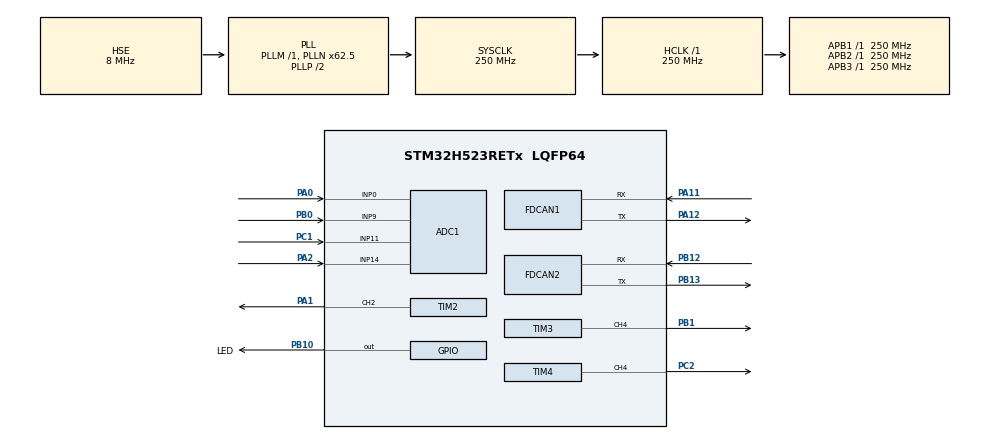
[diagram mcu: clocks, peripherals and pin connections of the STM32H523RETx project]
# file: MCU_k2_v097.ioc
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ADC1.Channel-1\#ChannelRegularConversion=ADC_CHANNEL_0
ADC1.Channel-2\#ChannelRegularConversion=ADC_CHANNEL_9
ADC1.Channel-3\#ChannelRegularConversion=ADC_CHANNEL_11
ADC1.Channel-4\#ChannelRegularConversion=ADC_CHANNEL_14
ADC1.ContinuousConvMode=ENABLE
ADC1.DMAContinuousRequests=ENABLE
ADC1.EOCSelection=ADC_EOC_SEQ_CONV
ADC1.MonitoredBy-1\#ChannelRegularConversion=__NULL
ADC1.MonitoredBy-2\#ChannelRegularConversion=__NULL
ADC1.MonitoredBy-3\#ChannelRegularConversion=__NULL
ADC1.MonitoredBy-4\#ChannelRegularConversion=__NULL
ADC1.NbrOfConversion=4
ADC1.NbrOfConversionFlag=1
ADC1.OffsetNumber-1\#ChannelRegularConversion=ADC_OFFSET_NONE
ADC1.OffsetNumber-2\#ChannelRegularConversion=ADC_OFFSET_NONE
ADC1.OffsetNumber-3\#ChannelRegularConversion=ADC_OFFSET_NONE
ADC1.OffsetNumber-4\#ChannelRegularConversion=ADC_OFFSET_NONE
ADC1.Rank-1\#ChannelRegularConversion=1
ADC1.Rank-2\#ChannelRegularConversion=2
ADC1.Rank-3\#ChannelRegularConversion=3
ADC1.Rank-4\#ChannelRegularConversion=4
ADC1.SamplingTime-1\#ChannelRegularConversion=ADC_SAMPLETIME_640CYCLES_5
ADC1.SamplingTime-2\#ChannelRegularConversion=ADC_SAMPLETIME_640CYCLES_5
ADC1.SamplingTime-3\#ChannelRegularConversion=ADC_SAMPLETIME_640CYCLES_5
ADC1.SamplingTime-4\#ChannelRegularConversion=ADC_SAMPLETIME_640CYCLES_5
ADC1.master=1
BOOTPATH.BootPathName=LEGACY
BOOTPATH.UserSelectedBootPath=LEGACY
CORTEX_M33_NS.userName=CORTEX_M33
DTS.Divider=10
DTS.RefClock=DTS_REFCLKSEL_PCLK
DTS.SamplingTime=DTS_SMP_TIME_15_CYCLE
FDCAN1.AutoRetransmission=ENABLE
FDCAN1.CalculateBaudRateNominal=250000
FDCAN1.CalculateTimeBitNominal=4000
FDCAN1.CalculateTimeQuantumNominal=250.0
FDCAN1.DataTimeSeg1=21
FDCAN1.ExtFiltersNbr=1
FDCAN1.NominalPrescaler=2
FDCAN1.NominalSyncJumpWidth=3
FDCAN1.NominalTimeSeg1=12
FDCAN1.NominalTimeSeg2=3
FDCAN1.StdFiltersNbr=1
FDCAN2.AutoRetransmission=ENABLE
FDCAN2.CalculateBaudRateNominal=250000
FDCAN2.CalculateTimeBitNominal=4000
FDCAN2.CalculateTimeQuantumNominal=250.0
FDCAN2.DataTimeSeg1=21
FDCAN2.ExtFiltersNbr=1
FDCAN2.NominalPrescaler=2
FDCAN2.NominalSyncJumpWidth=3
FDCAN2.NominalTimeSeg1=12
FDCAN2.NominalTimeSeg2=3
FDCAN2.StdFiltersNbr=1
GPDMA1.CIRCULARMODE_GPDMACH0=ENABLE
GPDMA1.DESTDATAWIDTH_GPDMACH0=DMA_DEST_DATAWIDTH_HALFWORD
GPDMA1.DESTINC_GPDMACH0=DMA_DINC_INCREMENTED
GPDMA1.IPHANDLE_GPDMACH0-SIMPLEREQUEST_GPDMACH0=__NULL
GPDMA1.REQUEST_GPDMACH0=GPDMA1_REQUEST_ADC1
GPDMA1.SRCDATAWIDTH_GPDMACH0=DMA_SRC_DATAWIDTH_HALFWORD
Mcu.Family=STM32H5
Mcu.Name=STM32H523RETx
Mcu.Package=LQFP64
NVIC.ADC1_IRQn=true\:10\:0\:true\:false\:true\:true\:true\:true
NVIC.DTS_IRQn=true\:12\:0\:true\:false\:true\:true\:true\:true
NVIC.FDCAN1_IT0_IRQn=true\:1\:0\:true\:false\:true\:true\:true\:true
NVIC.FDCAN2_IT0_IRQn=true\:2\:0\:true\:false\:true\:true\:true\:true
NVIC.GPDMA1_Channel0_IRQn=true\:9\:0\:true\:false\:true\:false\:true\:true
NVIC.PriorityGroup=NVIC_PRIORITYGROUP_4
PA0.Signal=ADCx_INP0
PA1.Signal=S_TIM2_CH2
PA11.GPIO_Speed=GPIO_SPEED_FREQ_VERY_HIGH
PA11.Mode=FDCAN_Activate
PA11.Signal=FDCAN1_RX
PA12.GPIO_Speed=GPIO_SPEED_FREQ_VERY_HIGH
PA12.Mode=FDCAN_Activate
PA12.Signal=FDCAN1_TX
PA2.Signal=ADCx_INP14
PB0.Signal=ADCx_INP9
PB1.Signal=S_TIM3_CH4
PB10.GPIO_Label=LED
PB10.Signal=GPIO_Output
PB12.GPIO_Speed=GPIO_SPEED_FREQ_VERY_HIGH
PB12.Mode=FDCAN_Activate
PB12.Signal=FDCAN2_RX
PB13.GPIO_Speed=GPIO_SPEED_FREQ_VERY_HIGH
PB13.Mode=FDCAN_Activate
PB13.Signal=FDCAN2_TX
PC1.Signal=ADCx_INP11
PC2.Signal=S_TIM4_CH4
PH0-OSC_IN(PH0).Mode=HSE-External-Oscillator
PH0-OSC_IN(PH0).Signal=RCC_OSC_IN
PH1-OSC_OUT(PH1).Mode=HSE-External-Oscillator
PH1-OSC_OUT(PH1).Signal=RCC_OSC_OUT
ProjectManager.HeapSize=0x200
ProjectManager.StackSize=0x400
ProjectManager.TargetToolchain=STM32CubeIDE
RCC.ADCFreq_Value=250000000
RCC.AHBFreq_Value=250000000
RCC.APB1Freq_Value=250000000
RCC.APB1TimFreq_Value=250000000
RCC.APB2Freq_Value=250000000
RCC.APB2TimFreq_Value=250000000
RCC.APB3Freq_Value=250000000
RCC.CSI_VALUE=4000000
RCC.CortexFreq_Value=250000000
RCC.EPOD_VALUE=8000000
RCC.FDCANClockSelection=RCC_FDCANCLKSOURCE_HSE
RCC.HCLKFreq_Value=250000000
RCC.HSE_VALUE=8000000
RCC.HSI48_VALUE=48000000
RCC.HSI_VALUE=64000000
RCC.LSE_VALUE=32768
RCC.LSIRC_VALUE=32000
RCC.PLL1Q=125
RCC.PLL2FRACN=0
RCC.PLL2Source=RCC_PLL2_SOURCE_HSE
RCC.PLL3FRACN=0
RCC.PLL3Source=RCC_PLL3_SOURCE_HSE
RCC.PLLFRACN=4096
RCC.PLLN=62
RCC.PLLSourceVirtual=RCC_PLL1_SOURCE_HSE
RCC.SYSCLKFreq_VALUE=250000000
RCC.SYSCLKSource=RCC_SYSCLKSOURCE_PLLCLK
RCC.USBFreq_Value=48000000
RCC.VCOOutputFreq_Value=500000000
SH.ADCx_INP0.0=ADC1_INP0,IN0-Single-Ended
SH.ADCx_INP11.0=ADC1_INP11,IN11-Single-Ended
SH.ADCx_INP14.0=ADC1_INP14,IN14-Single-Ended
SH.ADCx_INP9.0=ADC1_INP9,IN9-Single-Ended
SH.S_TIM2_CH2.0=TIM2_CH2,PWM Generation2 CH2
SH.S_TIM3_CH4.0=TIM3_CH4,PWM Generation4 CH4
SH.S_TIM4_CH4.0=TIM4_CH4,PWM Generation4 CH4
TIM2.Channel-PWM\ Generation2\ CH2=TIM_CHANNEL_2
TIM2.PeriodNoDither=99
TIM2.Prescaler=31
TIM3.Channel-PWM\ Generation4\ CH4=TIM_CHANNEL_4
TIM3.PeriodNoDither=99
TIM3.Prescaler=31
TIM4.Channel-PWM\ Generation4\ CH4=TIM_CHANNEL_4
TIM4.PeriodNoDither=99
TIM4.Prescaler=31
VP_BOOTPATH_VS_BOOTPATH.Mode=BP_Activate
VP_CORTEX_M33_NS_VS_Hclk.Mode=Hclk_Mode
VP_DTS_VS-DTS.Mode=DTS
VP_GPDMA1_VS_GPDMACH0.Mode=SIMPLEREQUEST_GPDMACH0
VP_MEMORYMAP_VS_MEMORYMAP.Mode=CurAppReg
VP_PWR_VS_LPOM.Mode=PowerOptimisation
VP_PWR_VS_SECSignals.Mode=Security/Privilege
VP_TIM2_VS_ClockSourceINT.Mode=Internal
VP_TIM3_VS_ClockSourceINT.Mode=Internal
VP_TIM4_VS_ClockSourceINT.Mode=Internal
board=custom

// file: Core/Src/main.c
/* USER CODE BEGIN Header */
/**
  ******************************************************************************
  * @file           : main.c
  * @brief          : Main program body
  ******************************************************************************
  * @attention
  *
  * Copyright (c) 2026 STMicroelectronics.
  * All rights reserved.
  *
  * This software is licensed under terms that can be found in the LICENSE file
  * in the root directory of this software component.
  * If no LICENSE file comes with this software, it is provided AS-IS.
  *
  ******************************************************************************
  */
/* USER CODE END Header */
#include "main.h"

/* USER CODE BEGIN Includes */
#include "backend.h"
#include "app.h"

/* USER CODE END Includes */

ADC_HandleTypeDef hadc1;
DMA_NodeTypeDef Node_GPDMA1_Channel0;
DMA_QListTypeDef List_GPDMA1_Channel0;
DMA_HandleTypeDef handle_GPDMA1_Channel0;

DTS_HandleTypeDef hdts;

FDCAN_HandleTypeDef hfdcan1;
FDCAN_HandleTypeDef hfdcan2;

TIM_HandleTypeDef htim2;
TIM_HandleTypeDef htim3;
TIM_HandleTypeDef htim4;

void SystemClock_Config(void);
static void MX_GPIO_Init(void);
static void MX_GPDMA1_Init(void);
static void MX_ADC1_Init(void);
static void MX_FDCAN1_Init(void);
static void MX_FDCAN2_Init(void);
static void MX_TIM4_Init(void);
static void MX_TIM2_Init(void);
static void MX_TIM3_Init(void);
static void MX_DTS_Init(void);

/* USER CODE BEGIN 0 */
/* CAN transport moved to Core/Src/can.cpp */
/* USER CODE END 0 */

int main(void)
{

  /* MCU Configuration--------------------------------------------------------*/

  /* Reset of all peripherals, Initializes the Flash interface and the Systick. */
  HAL_Init();

  /* Configure the system clock */
  SystemClock_Config();

  /* Initialize all configured peripherals */
  MX_GPIO_Init();
  MX_GPDMA1_Init();
  MX_ADC1_Init();
  MX_FDCAN1_Init();
  MX_FDCAN2_Init();
  MX_TIM4_Init();
  MX_TIM2_Init();
  MX_TIM3_Init();
  MX_DTS_Init();
  /* USER CODE BEGIN 2 */
  if (HAL_DTS_Start(&hdts) != HAL_OK)
  {
    Error_Handler();
  }
  HAL_SetTickFreq(HAL_TICK_FREQ_1KHZ);
  FDCAN_StartAll();
  HAL_ADC_Start_DMA(&hadc1, (uint32_t *)MCU_K2_ADC_VAL, MCU_K2_NUM_ADC_CHANNEL);
  App_Init();

  /* USER CODE END 2 */

  /* Infinite loop */
  while (1)
  {

    /* USER CODE BEGIN 3 */
	    static uint32_t last_tick = 0;
	    uint32_t now = HAL_GetTick();
	    if (now != last_tick) {
	      last_tick = now;
	      App_Timer1ms();
	    }
	App_CanProcess();
    App_CanTxProcess();
  }
  /* USER CODE END 3 */
}

void SystemClock_Config(void)
{
  RCC_OscInitTypeDef RCC_OscInitStruct = {0};
  RCC_ClkInitTypeDef RCC_ClkInitStruct = {0};

  /** Configure the main internal regulator output voltage
  */
  __HAL_PWR_VOLTAGESCALING_CONFIG(PWR_REGULATOR_VOLTAGE_SCALE0);

  while(!__HAL_PWR_GET_FLAG(PWR_FLAG_VOSRDY)) {}

  /** Initializes the RCC Oscillators according to the specified parameters
  * in the RCC_OscInitTypeDef structure.
  */
  RCC_OscInitStruct.OscillatorType = RCC_OSCILLATORTYPE_HSE;
  RCC_OscInitStruct.HSEState = RCC_HSE_ON;
  RCC_OscInitStruct.PLL.PLLState = RCC_PLL_ON;
  RCC_OscInitStruct.PLL.PLLSource = RCC_PLL1_SOURCE_HSE;
  RCC_OscInitStruct.PLL.PLLM = 1;
  RCC_OscInitStruct.PLL.PLLN = 62;
  RCC_OscInitStruct.PLL.PLLP = 2;
  RCC_OscInitStruct.PLL.PLLQ = 125;
  RCC_OscInitStruct.PLL.PLLR = 2;
  RCC_OscInitStruct.PLL.PLLRGE = RCC_PLL1_VCIRANGE_3;
  RCC_OscInitStruct.PLL.PLLVCOSEL = RCC_PLL1_VCORANGE_WIDE;
  RCC_OscInitStruct.PLL.PLLFRACN = 4096;
  if (HAL_RCC_OscConfig(&RCC_OscInitStruct) != HAL_OK)
  {
    Error_Handler();
  }

  /** Initializes the CPU, AHB and APB buses clocks
  */
  RCC_ClkInitStruct.ClockType = RCC_CLOCKTYPE_HCLK|RCC_CLOCKTYPE_SYSCLK
                              |RCC_CLOCKTYPE_PCLK1|RCC_CLOCKTYPE_PCLK2
                              |RCC_CLOCKTYPE_PCLK3;
  RCC_ClkInitStruct.SYSCLKSource = RCC_SYSCLKSOURCE_PLLCLK;
  RCC_ClkInitStruct.AHBCLKDivider = RCC_SYSCLK_DIV1;
  RCC_ClkInitStruct.APB1CLKDivider = RCC_HCLK_DIV1;
  RCC_ClkInitStruct.APB2CLKDivider = RCC_HCLK_DIV1;
  RCC_ClkInitStruct.APB3CLKDivider = RCC_HCLK_DIV1;

  if (HAL_RCC_ClockConfig(&RCC_ClkInitStruct, FLASH_LATENCY_5) != HAL_OK)
  {
    Error_Handler();
  }

  /** Configure the programming delay
  */
  __HAL_FLASH_SET_PROGRAM_DELAY(FLASH_PROGRAMMING_DELAY_2);
}

static void MX_ADC1_Init(void)
{

  ADC_ChannelConfTypeDef sConfig = {0};

  /** Common config
  */
  hadc1.Instance = ADC1;
  hadc1.Init.ClockPrescaler = ADC_CLOCK_ASYNC_DIV4;
  hadc1.Init.Resolution = ADC_RESOLUTION_12B;
  hadc1.Init.DataAlign = ADC_DATAALIGN_RIGHT;
  hadc1.Init.ScanConvMode = ADC_SCAN_ENABLE;
  hadc1.Init.EOCSelection = ADC_EOC_SEQ_CONV;
  hadc1.Init.LowPowerAutoWait = DISABLE;
  hadc1.Init.ContinuousConvMode = ENABLE;
  hadc1.Init.NbrOfConversion = 4;
  hadc1.Init.DiscontinuousConvMode = DISABLE;
  hadc1.Init.ExternalTrigConv = ADC_SOFTWARE_START;
  hadc1.Init.ExternalTrigConvEdge = ADC_EXTERNALTRIGCONVEDGE_NONE;
  hadc1.Init.DMAContinuousRequests = ENABLE;
  hadc1.Init.SamplingMode = ADC_SAMPLING_MODE_NORMAL;
  hadc1.Init.Overrun = ADC_OVR_DATA_PRESERVED;
  hadc1.Init.OversamplingMode = DISABLE;
  if (HAL_ADC_Init(&hadc1) != HAL_OK)
  {
    Error_Handler();
  }

  /** Configure Regular Channel
  */
  sConfig.Channel = ADC_CHANNEL_0;
  sConfig.Rank = ADC_REGULAR_RANK_1;
  sConfig.SamplingTime = ADC_SAMPLETIME_640CYCLES_5;
  sConfig.SingleDiff = ADC_SINGLE_ENDED;
  sConfig.OffsetNumber = ADC_OFFSET_NONE;
  sConfig.Offset = 0;
  if (HAL_ADC_ConfigChannel(&hadc1, &sConfig) != HAL_OK)
  {
    Error_Handler();
  }

  /** Configure Regular Channel
  */
  sConfig.Channel = ADC_CHANNEL_9;
  sConfig.Rank = ADC_REGULAR_RANK_2;
  if (HAL_ADC_ConfigChannel(&hadc1, &sConfig) != HAL_OK)
  {
    Error_Handler();
  }

  /** Configure Regular Channel
  */
  sConfig.Channel = ADC_CHANNEL_11;
  sConfig.Rank = ADC_REGULAR_RANK_3;
  if (HAL_ADC_ConfigChannel(&hadc1, &sConfig) != HAL_OK)
  {
    Error_Handler();
  }

  /** Configure Regular Channel
  */
  sConfig.Channel = ADC_CHANNEL_14;
  sConfig.Rank = ADC_REGULAR_RANK_4;
  if (HAL_ADC_ConfigChannel(&hadc1, &sConfig) != HAL_OK)
  {
    Error_Handler();
  }

}

static void MX_DTS_Init(void)
{

  hdts.Instance = DTS;
  hdts.Init.QuickMeasure = DTS_QUICKMEAS_DISABLE;
  hdts.Init.RefClock = DTS_REFCLKSEL_PCLK;
  hdts.Init.TriggerInput = DTS_TRIGGER_HW_NONE;
  hdts.Init.SamplingTime = DTS_SMP_TIME_15_CYCLE;
  hdts.Init.Divider = 10;
  hdts.Init.HighThreshold = 0x0;
  hdts.Init.LowThreshold = 0x0;
  if (HAL_DTS_Init(&hdts) != HAL_OK)
  {
    Error_Handler();
  }

}

static void MX_FDCAN1_Init(void)
{

  hfdcan1.Instance = FDCAN1;
  hfdcan1.Init.ClockDivider = FDCAN_CLOCK_DIV1;
  hfdcan1.Init.FrameFormat = FDCAN_FRAME_CLASSIC;
  hfdcan1.Init.Mode = FDCAN_MODE_NORMAL;
  hfdcan1.Init.AutoRetransmission = ENABLE;
  hfdcan1.Init.TransmitPause = DISABLE;
  hfdcan1.Init.ProtocolException = DISABLE;
  hfdcan1.Init.NominalPrescaler = 2;
  hfdcan1.Init.NominalSyncJumpWidth = 3;
  hfdcan1.Init.NominalTimeSeg1 = 12;
  hfdcan1.Init.NominalTimeSeg2 = 3;
  hfdcan1.Init.DataPrescaler = 1;
  hfdcan1.Init.DataSyncJumpWidth = 1;
  hfdcan1.Init.DataTimeSeg1 = 21;
  hfdcan1.Init.DataTimeSeg2 = 1;
  hfdcan1.Init.StdFiltersNbr = 1;
  hfdcan1.Init.ExtFiltersNbr = 1;
  hfdcan1.Init.TxFifoQueueMode = FDCAN_TX_FIFO_OPERATION;
  if (HAL_FDCAN_Init(&hfdcan1) != HAL_OK)
  {
    Error_Handler();
  }

}

static void MX_FDCAN2_Init(void)
{

  hfdcan2.Instance = FDCAN2;
  hfdcan2.Init.ClockDivider = FDCAN_CLOCK_DIV1;
  hfdcan2.Init.FrameFormat = FDCAN_FRAME_CLASSIC;
  hfdcan2.Init.Mode = FDCAN_MODE_NORMAL;
  hfdcan2.Init.AutoRetransmission = ENABLE;
  hfdcan2.Init.TransmitPause = DISABLE;
  hfdcan2.Init.ProtocolException = DISABLE;
  hfdcan2.Init.NominalPrescaler = 2;
  hfdcan2.Init.NominalSyncJumpWidth = 3;
  hfdcan2.Init.NominalTimeSeg1 = 12;
  hfdcan2.Init.NominalTimeSeg2 = 3;
  hfdcan2.Init.DataPrescaler = 1;
  hfdcan2.Init.DataSyncJumpWidth = 1;
  hfdcan2.Init.DataTimeSeg1 = 21;
  hfdcan2.Init.DataTimeSeg2 = 1;
  hfdcan2.Init.StdFiltersNbr = 1;
  hfdcan2.Init.ExtFiltersNbr = 1;
  hfdcan2.Init.TxFifoQueueMode = FDCAN_TX_FIFO_OPERATION;
  if (HAL_FDCAN_Init(&hfdcan2) != HAL_OK)
  {
    Error_Handler();
  }

}

static void MX_GPDMA1_Init(void)
{

  /* Peripheral clock enable */
  __HAL_RCC_GPDMA1_CLK_ENABLE();

  /* GPDMA1 interrupt Init */
    HAL_NVIC_SetPriority(GPDMA1_Channel0_IRQn, 9, 0);
    HAL_NVIC_EnableIRQ(GPDMA1_Channel0_IRQn);

}

static void MX_TIM2_Init(void)
{

  TIM_ClockConfigTypeDef sClockSourceConfig = {0};
  TIM_MasterConfigTypeDef sMasterConfig = {0};
  TIM_OC_InitTypeDef sConfigOC = {0};

  htim2.Instance = TIM2;
  htim2.Init.Prescaler = 31;
  htim2.Init.CounterMode = TIM_COUNTERMODE_UP;
  htim2.Init.Period = 99;
  htim2.Init.ClockDivision = TIM_CLOCKDIVISION_DIV1;
  htim2.Init.AutoReloadPreload = TIM_AUTORELOAD_PRELOAD_DISABLE;
  if (HAL_TIM_Base_Init(&htim2) != HAL_OK)
  {
    Error_Handler();
  }
  sClockSourceConfig.ClockSource = TIM_CLOCKSOURCE_INTERNAL;
  if (HAL_TIM_ConfigClockSource(&htim2, &sClockSourceConfig) != HAL_OK)
  {
    Error_Handler();
  }
  if (HAL_TIM_PWM_Init(&htim2) != HAL_OK)
  {
    Error_Handler();
  }
  sMasterConfig.MasterOutputTrigger = TIM_TRGO_RESET;
  sMasterConfig.MasterSlaveMode = TIM_MASTERSLAVEMODE_DISABLE;
  if (HAL_TIMEx_MasterConfigSynchronization(&htim2, &sMasterConfig) != HAL_OK)
  {
    Error_Handler();
  }
  sConfigOC.OCMode = TIM_OCMODE_PWM1;
  sConfigOC.Pulse = 0;
  sConfigOC.OCPolarity = TIM_OCPOLARITY_HIGH;
  sConfigOC.OCFastMode = TIM_OCFAST_DISABLE;
  if (HAL_TIM_PWM_ConfigChannel(&htim2, &sConfigOC, TIM_CHANNEL_2) != HAL_OK)
  {
    Error_Handler();
  }
  HAL_TIM_MspPostInit(&htim2);

}

static void MX_TIM3_Init(void)
{

  TIM_ClockConfigTypeDef sClockSourceConfig = {0};
  TIM_MasterConfigTypeDef sMasterConfig = {0};
  TIM_OC_InitTypeDef sConfigOC = {0};

  htim3.Instance = TIM3;
  htim3.Init.Prescaler = 31;
  htim3.Init.CounterMode = TIM_COUNTERMODE_UP;
  htim3.Init.Period = 99;
  htim3.Init.ClockDivision = TIM_CLOCKDIVISION_DIV1;
  htim3.Init.AutoReloadPreload = TIM_AUTORELOAD_PRELOAD_DISABLE;
  if (HAL_TIM_Base_Init(&htim3) != HAL_OK)
  {
    Error_Handler();
  }
  sClockSourceConfig.ClockSource = TIM_CLOCKSOURCE_INTERNAL;
  if (HAL_TIM_ConfigClockSource(&htim3, &sClockSourceConfig) != HAL_OK)
  {
    Error_Handler();
  }
  if (HAL_TIM_PWM_Init(&htim3) != HAL_OK)
  {
    Error_Handler();
  }
  sMasterConfig.MasterOutputTrigger = TIM_TRGO_RESET;
  sMasterConfig.MasterSlaveMode = TIM_MASTERSLAVEMODE_DISABLE;
  if (HAL_TIMEx_MasterConfigSynchronization(&htim3, &sMasterConfig) != HAL_OK)
  {
    Error_Handler();
  }
  sConfigOC.OCMode = TIM_OCMODE_PWM1;
  sConfigOC.Pulse = 0;
  sConfigOC.OCPolarity = TIM_OCPOLARITY_HIGH;
  sConfigOC.OCFastMode = TIM_OCFAST_DISABLE;
  if (HAL_TIM_PWM_ConfigChannel(&htim3, &sConfigOC, TIM_CHANNEL_4) != HAL_OK)
  {
    Error_Handler();
  }
  HAL_TIM_MspPostInit(&htim3);

}

static void MX_TIM4_Init(void)
{

  TIM_ClockConfigTypeDef sClockSourceConfig = {0};
  TIM_MasterConfigTypeDef sMasterConfig = {0};
  TIM_OC_InitTypeDef sConfigOC = {0};

  htim4.Instance = TIM4;
  htim4.Init.Prescaler = 31;
  htim4.Init.CounterMode = TIM_COUNTERMODE_UP;
  htim4.Init.Period = 99;
  htim4.Init.ClockDivision = TIM_CLOCKDIVISION_DIV1;
  htim4.Init.AutoReloadPreload = TIM_AUTORELOAD_PRELOAD_DISABLE;
  if (HAL_TIM_Base_Init(&htim4) != HAL_OK)
  {
    Error_Handler();
  }
  sClockSourceConfig.ClockSource = TIM_CLOCKSOURCE_INTERNAL;
  if (HAL_TIM_ConfigClockSource(&htim4, &sClockSourceConfig) != HAL_OK)
  {
    Error_Handler();
  }
  if (HAL_TIM_PWM_Init(&htim4) != HAL_OK)
  {
    Error_Handler();
  }
  sMasterConfig.MasterOutputTrigger = TIM_TRGO_RESET;
  sMasterConfig.MasterSlaveMode = TIM_MASTERSLAVEMODE_DISABLE;
  if (HAL_TIMEx_MasterConfigSynchronization(&htim4, &sMasterConfig) != HAL_OK)
  {
    Error_Handler();
  }
  sConfigOC.OCMode = TIM_OCMODE_PWM1;
  sConfigOC.Pulse = 0;
  sConfigOC.OCPolarity = TIM_OCPOLARITY_HIGH;
  sConfigOC.OCFastMode = TIM_OCFAST_DISABLE;
  if (HAL_TIM_PWM_ConfigChannel(&htim4, &sConfigOC, TIM_CHANNEL_4) != HAL_OK)
  {
    Error_Handler();
  }
  HAL_TIM_MspPostInit(&htim4);

}

static void MX_GPIO_Init(void)
{
  GPIO_InitTypeDef GPIO_InitStruct = {0};

  /* GPIO Ports Clock Enable */
  __HAL_RCC_GPIOH_CLK_ENABLE();
  __HAL_RCC_GPIOC_CLK_ENABLE();
  __HAL_RCC_GPIOA_CLK_ENABLE();
  __HAL_RCC_GPIOB_CLK_ENABLE();

  /*Configure GPIO pin Output Level */
  HAL_GPIO_WritePin(LED_GPIO_Port, LED_Pin, GPIO_PIN_RESET);

  /*Configure GPIO pin : LED_Pin */
  GPIO_InitStruct.Pin = LED_Pin;
  GPIO_InitStruct.Mode = GPIO_MODE_OUTPUT_PP;
  GPIO_InitStruct.Pull = GPIO_NOPULL;
  GPIO_InitStruct.Speed = GPIO_SPEED_FREQ_LOW;
  HAL_GPIO_Init(LED_GPIO_Port, &GPIO_InitStruct);

}

void Error_Handler(void)
{
  __disable_irq();
  while (1)
  {
  }
}
